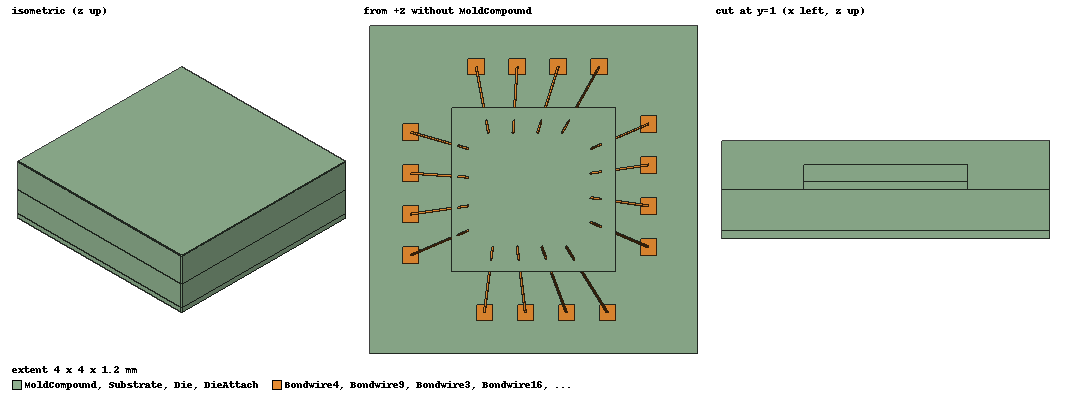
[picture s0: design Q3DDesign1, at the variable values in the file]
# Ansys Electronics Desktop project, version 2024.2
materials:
  vacuum: permittivity=1
  copper: permeability=0.999991 conductivity=58000000
  silicon: permittivity=11.9
  FR4_epoxy: permittivity=4.4 dielectric_loss_tangent=0.02
  modified_epoxy: permittivity=4.2 dielectric_loss_tangent=0.02
  gold: permeability=0.99996 conductivity=41000000
  epoxy_Kevlar_xy: permittivity=3.6

design Q3DDesign1 (Q3D Extractor, model units mm)
options: SParamCalcMethod=EqTransLine Calculate_Lossy_Dielectrics
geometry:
  Die [silicon] = rectangle(corner=(0mm, 0mm, 0mm), x_size=2mm, y_size=2mm)
  Die.thicken(0.2mm)
  Substrate [FR4_epoxy] = rectangle(corner=(-1mm, -1mm, -0.1mm), x_size=4mm, y_size=4mm)
  Substrate.thicken(-0.5mm)
  DieAttach [modified_epoxy] = rectangle(corner=(0mm, 0mm, 0mm), x_size=2mm, y_size=2mm)
  DieAttach.thicken(-0.1mm)
  DieBondpad1 [gold] = rectangle(corner=(0.4mm, 0.2mm, 0mm), x_size=0.2mm, y_size=0.2mm)
  DieBondpad1.thicken(0.005mm)
  DieBondPad2 [gold] = rectangle(corner=(0.7mm, 0.2mm, 0mm), x_size=0.2mm, y_size=0.2mm)
  DieBondPad3 [gold] = rectangle(corner=(1mm, 0.2mm, 0mm), x_size=0.2mm, y_size=0.2mm)
  [DieBondPad2, DieBondPad3].thicken(0.005mm)
  DieBondPad4 [gold] = rectangle(corner=(1.3mm, 0.2mm, 0mm), x_size=0.2mm, y_size=0.2mm)
  DieBondPad4.thicken(0.005mm)
  DieBondPad5 [gold] = rectangle(corner=(1.6mm, 0.5mm, 0mm), x_size=0.2mm, y_size=0.2mm)
  DieBondpad6 [gold] = rectangle(corner=(1.6mm, 0.8mm, 0mm), x_size=0.2mm, y_size=0.2mm)
  DieBondPad7 [gold] = rectangle(corner=(1.6mm, 1.1mm, 0mm), x_size=0.2mm, y_size=0.2mm)
  DieBondPad8 [gold] = rectangle(corner=(1.6mm, 1.4mm, 0mm), x_size=0.2mm, y_size=0.2mm)
  [DieBondPad5, DieBondpad6, DieBondPad7, DieBondPad8].thicken(0.005mm, both sides)
  DieBondPad9 [gold] = rectangle(corner=(1.45mm, 1.6mm, 0mm), x_size=-0.2mm, y_size=0.2mm)
  DieBondPad10 [gold] = rectangle(corner=(1.15mm, 1.6mm, 0mm), x_size=-0.2mm, y_size=0.2mm)
  DieBondPad11 [gold] = rectangle(corner=(0.65mm, 1.6mm, 0mm), x_size=0.2mm, y_size=0.2mm)
  DieBondPad12 [gold] = rectangle(corner=(0.35mm, 1.6mm, 0mm), x_size=0.2mm, y_size=0.2mm)
  [DieBondPad9..DieBondPad12].thicken(0.005mm, both sides)
  DieBondPad13 [gold] = rectangle(corner=(0.1mm, 1.4mm, 0mm), x_size=0.2mm, y_size=0.2mm)
  DieBondPad14 [gold] = rectangle(corner=(0.1mm, 1.05mm, 0mm), x_size=0.2mm, y_size=0.2mm)
  DiebondPad15 [gold] = rectangle(corner=(0.1mm, 0.7mm, 0mm), x_size=0.2mm, y_size=0.2mm)
  DieBondPad16 [gold] = rectangle(corner=(0.1mm, 0.4mm, 0mm), x_size=0.2mm, y_size=0.2mm)
  [DieBondPad13, DieBondPad14, DiebondPad15, DieBondPad16].thicken(0.005mm, both sides)
  SubstrateBondPad1 [gold] = rectangle(corner=(0.3mm, -0.6mm, 0mm), x_size=0.2mm, y_size=0.2mm)
  SubstrateBondPad2 [gold] = rectangle(corner=(0.8mm, -0.6mm, 0mm), x_size=0.2mm, y_size=0.2mm)
  SubstrateBondPad3 [gold] = rectangle(corner=(1.3mm, -0.6mm, 0mm), x_size=0.2mm, y_size=0.2mm)
  SubstrateBondPad4 [gold] = rectangle(corner=(1.8mm, -0.6mm, 0mm), x_size=0.2mm, y_size=0.2mm)
  SubstrateBondPad5 [gold] = rectangle(corner=(2.3mm, 0.2mm, 0mm), x_size=0.2mm, y_size=0.2mm)
  SubstrateBondPad6 [gold] = rectangle(corner=(2.3mm, 0.7mm, 0mm), x_size=0.2mm, y_size=0.2mm)
  SubstrateBondPad7 [gold] = rectangle(corner=(2.3mm, 1.2mm, 0mm), x_size=0.2mm, y_size=0.2mm)
  SubstrateBondPad8 [gold] = rectangle(corner=(2.3mm, 1.7mm, 0mm), x_size=0.2mm, y_size=0.2mm)
  SubstrateBondPad9 [gold] = rectangle(corner=(1.7mm, 2.4mm, 0mm), x_size=0.2mm, y_size=0.2mm)
  SubstrateBondPad10 [gold] = rectangle(corner=(1.2mm, 2.4mm, 0mm), x_size=0.2mm, y_size=0.2mm)
  SubstrateBondPad11 [gold] = rectangle(corner=(0.7mm, 2.4mm, 0mm), x_size=0.2mm, y_size=0.2mm)
  SubstrateBondPad12 [gold] = rectangle(corner=(0.2mm, 2.4mm, 0mm), x_size=0.2mm, y_size=0.2mm)
  SubstrateBondPad13 [gold] = rectangle(corner=(-0.6mm, 1.6mm, 0mm), x_size=0.2mm, y_size=0.2mm)
  SubstrateBondPad14 [gold] = rectangle(corner=(-0.6mm, 1.1mm, 0mm), x_size=0.2mm, y_size=0.2mm)
  SubstrateBondPad15 [gold] = rectangle(corner=(-0.6mm, 0.6mm, 0mm), x_size=0.2mm, y_size=0.2mm)
  SubstrateBondPad16 [gold] = rectangle(corner=(-0.6mm, 0.1mm, 0mm), x_size=0.2mm, y_size=0.2mm)
  [SubstrateBondPad1..SubstrateBondPad16].thicken(0.005mm, both sides)
  Bondwire1 [gold] = bondwire(WireType=JEDEC_4Points WireDiameter=0.025mm NumSides=6 XPadPos=0.5mm YPadPos=0.3mm ZPadPos=0.005mm XDir=-0.1mm YDir=-0.8mm ZDir=0mm Distance=0.80622577mm h1=0.2mm h2=0.0025mm alpha=80deg beta=5deg WhichAxis=Z)
  Bondwire2 [gold] = bondwire(WireType=JEDEC_4Points WireDiameter=0.025mm NumSides=6 XPadPos=0.8mm YPadPos=0.3mm ZPadPos=0.005mm XDir=0.1mm YDir=-0.8mm ZDir=0mm Distance=0.80622577mm h1=0.2mm h2=0.0025mm alpha=80deg beta=5deg WhichAxis=Z)
  Bondwire3 [gold] = bondwire(WireType=JEDEC_4Points WireDiameter=0.025mm NumSides=6 XPadPos=1.1mm YPadPos=0.3mm ZPadPos=0.005mm XDir=0.3mm YDir=-0.8mm ZDir=0mm Distance=0.85440037mm h1=0.2mm h2=0.0025mm alpha=80deg beta=5deg WhichAxis=Z)
  Bondwire4 [gold] = bondwire(WireType=JEDEC_4Points WireDiameter=0.025mm NumSides=6 XPadPos=1.4mm YPadPos=0.3mm ZPadPos=0.005mm XDir=0.5mm YDir=-0.8mm ZDir=0mm Distance=0.94339811mm h1=0.2mm h2=0.0025mm alpha=80deg beta=5deg WhichAxis=Z)
  Bondwire5 [gold] = bondwire(WireType=JEDEC_4Points WireDiameter=0.025mm NumSides=6 XPadPos=1.7mm YPadPos=0.6mm ZPadPos=0.0025mm XDir=0.7mm YDir=-0.3mm ZDir=0mm Distance=0.76157731mm h1=0.2mm h2=0mm alpha=80deg beta=5deg WhichAxis=Z)
  Bondwire6 [gold] = bondwire(WireType=JEDEC_4Points WireDiameter=0.025mm NumSides=6 XPadPos=1.7mm YPadPos=0.9mm ZPadPos=0.0025mm XDir=0.7mm YDir=-0.1mm ZDir=0mm Distance=0.70710678mm h1=0.2mm h2=0mm alpha=80deg beta=5deg WhichAxis=Z)
  Bondwire7 [gold] = bondwire(WireType=JEDEC_4Points WireDiameter=0.025mm NumSides=6 XPadPos=1.7mm YPadPos=1.2mm ZPadPos=0.0025mm XDir=0.7mm YDir=0.1mm ZDir=0mm Distance=0.70710678mm h1=0.2mm h2=0mm alpha=80deg beta=5deg WhichAxis=Z)
  Bondwire8 [gold] = bondwire(WireType=JEDEC_4Points WireDiameter=0.025mm NumSides=6 XPadPos=1.7mm YPadPos=1.5mm ZPadPos=0.0025mm XDir=0.7mm YDir=0.3mm ZDir=0mm Distance=0.76157731mm h1=0.2mm h2=0mm alpha=80deg beta=5deg WhichAxis=Z)
  Bondwire9 [gold] = bondwire(WireType=JEDEC_4Points WireDiameter=0.025mm NumSides=6 XPadPos=1.35mm YPadPos=1.7mm ZPadPos=0.0025mm XDir=0.45mm YDir=0.8mm ZDir=0mm Distance=0.91787799mm h1=0.2mm h2=0mm alpha=80deg beta=5deg WhichAxis=Z)
  Bondwire10 [gold] = bondwire(WireType=JEDEC_4Points WireDiameter=0.025mm NumSides=6 XPadPos=1.05mm YPadPos=1.7mm ZPadPos=0.0025mm XDir=0.25mm YDir=0.8mm ZDir=0mm Distance=0.83815273mm h1=0.2mm h2=0mm alpha=80deg beta=5deg WhichAxis=Z)
  Bondwire11 [gold] = bondwire(WireType=JEDEC_4Points WireDiameter=0.025mm NumSides=6 XPadPos=0.75mm YPadPos=1.7mm ZPadPos=0.0025mm XDir=0.05mm YDir=0.8mm ZDir=0mm Distance=0.80156098mm h1=0.2mm h2=0mm alpha=80deg beta=5deg WhichAxis=Z)
  Bondwire12 [gold] = bondwire(WireType=JEDEC_4Points WireDiameter=0.025mm NumSides=6 XPadPos=0.45mm YPadPos=1.7mm ZPadPos=0.0025mm XDir=-0.15mm YDir=0.8mm ZDir=0mm Distance=0.81394103mm h1=0.2mm h2=0mm alpha=80deg beta=5deg WhichAxis=Z)
  Bondwire13 [gold] = bondwire(WireType=JEDEC_4Points WireDiameter=0.025mm NumSides=6 XPadPos=0.2mm YPadPos=1.5mm ZPadPos=0.0025mm XDir=-0.7mm YDir=0.2mm ZDir=0mm Distance=0.72801099mm h1=0.2mm h2=0mm alpha=80deg beta=5deg WhichAxis=Z)
  Bondwire14 [gold] = bondwire(WireType=JEDEC_4Points WireDiameter=0.025mm NumSides=6 XPadPos=0.2mm YPadPos=1.15mm ZPadPos=0.0025mm XDir=-0.7mm YDir=0.05mm ZDir=0mm Distance=0.70178344mm h1=0.2mm h2=0mm alpha=80deg beta=5deg WhichAxis=Z)
  Bondwire15 [gold] = bondwire(WireType=JEDEC_4Points WireDiameter=0.025mm NumSides=6 XPadPos=0.2mm YPadPos=0.8mm ZPadPos=0.0025mm XDir=-0.7mm YDir=-0.1mm ZDir=0mm Distance=0.70710678mm h1=0.2mm h2=0mm alpha=80deg beta=5deg WhichAxis=Z)
  Bondwire16 [gold] = bondwire(WireType=JEDEC_4Points WireDiameter=0.025mm NumSides=6 XPadPos=0.2mm YPadPos=0.5mm ZPadPos=0.0025mm XDir=-0.7mm YDir=-0.3mm ZDir=0mm Distance=0.76157731mm h1=0.2mm h2=0mm alpha=80deg beta=5deg WhichAxis=Z)
  MoldCompound [epoxy_Kevlar_xy] = rectangle(corner=(-1mm, -1mm, -0.1mm), x_size=4mm, y_size=4mm)
  MoldCompound.thicken(1.2mm, both sides)
